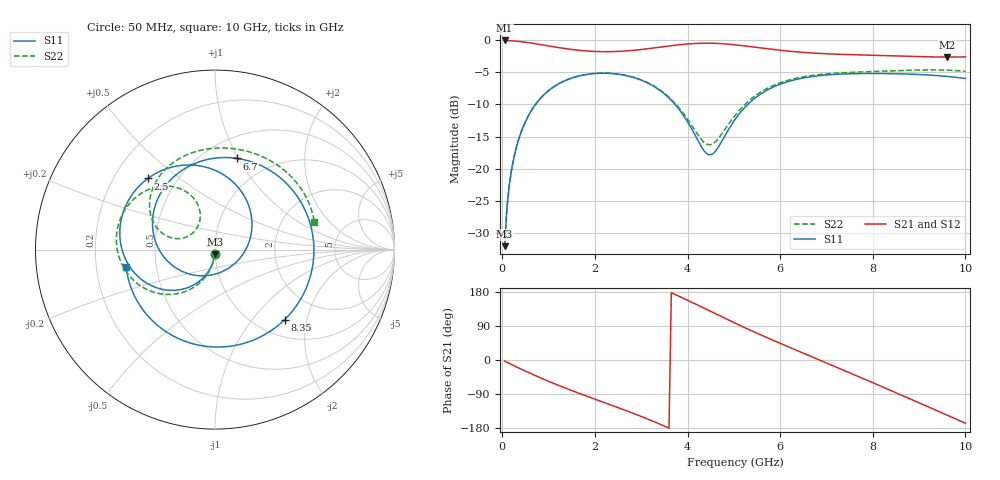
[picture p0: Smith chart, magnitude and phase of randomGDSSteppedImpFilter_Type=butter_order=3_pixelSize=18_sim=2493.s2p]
! freq	dB(S11)	phase(S11)	dB(S12)	phase(S12)
!  dB(S21)	phase(S21)	dB(S22)	phase(S22)
!S-par simulation data
#  GHz  S  DB  R 50
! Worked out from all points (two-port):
!   200 points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, 50 MHz to 10 GHz, reference 50 ohm
!   highest |S21| = -0.01 dB at 50 MHz (marker M1); lowest = -2.6 dB at 9.6 GHz (marker M2)
!   |S21| within 3 dB of the highest: start of sweep to end of sweep
!   lowest |S11| = -32.1 dB at 50 MHz (marker M3), VSWR 1.05, Z = 49.8 - j2.47 ohm
!   |S11| at or under -10 dB: start of sweep to 717.4 MHz; 3.732 GHz to 5.299 GHz (1.567 GHz wide, 34.7 % of centre)
!   |S22| runs from -32.1 to -4.6 dB; largest |S21 - S12| = 0
!   S11 on the Smith chart (normalised r, x): 50 MHz: 1.00, -0.05; 2.5 GHz: 0.34, +0.39; 6.7 GHz: 0.71, +0.99; 8.35 GHz: 1.32, -1.48; 10 GHz: 0.33, -0.09
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0.05  -32.12 -93.3  -0.01 -3.0  -0.01 -3.0  -32.12 -93.0
0.1  -26.12 -96.6  -0.02 -6.0  -0.02 -6.0  -26.12 -95.9
0.2  -20.19 -103.0  -0.06 -11.9  -0.06 -11.9  -20.19 -101.7
0.5  -12.68 -121.5  -0.28 -29.3  -0.28 -29.3  -12.68 -118.2
1.05  -7.55 -152.9  -0.92 -58.8  -0.92 -58.8  -7.54 -145.9
1.75  -5.40 171.1  -1.61 -92.1  -1.61 -92.1  -5.39 -176.2
2.5  -5.27 133.3  -1.72 -125.6  -1.72 -125.6  -5.25 154.8
2.95  -6.06 108.7  -1.46 -146.6  -1.46 -146.6  -6.02 138.2
3.4  -7.78 80.2  -1.05 -169.1  -1.05 -169.1  -7.69 122.5
3.95  -12.12 33.7  -0.59 160.6  -0.59 160.6  -11.77 110.9
4.45  -17.83 -52.4  -0.43 131.2  -0.43 131.2  -16.28 136.0
5.05  -12.10 -157.8  -0.70 95.9  -0.70 95.9  -11.50 164.7
5.8  -7.45 139.4  -1.37 54.5  -1.37 54.5  -7.20 146.7
6.3  -6.17 104.1  -1.75 28.4  -1.75 28.4  -5.98 130.6
6.7  -5.63 76.3  -1.97 7.9  -1.97 7.9  -5.45 117.9
7.1  -5.34 48.0  -2.12 -12.7  -2.12 -12.7  -5.16 105.6
7.6  -5.19 11.4  -2.24 -38.7  -2.24 -38.7  -4.96 90.8
7.95  -5.17 -14.8  -2.31 -57.1  -2.31 -57.1  -4.86 80.6
8.35  -5.19 -45.1  -2.40 -78.3  -2.40 -78.3  -4.76 68.8
8.95  -5.31 -90.4  -2.52 -110.3  -2.52 -110.3  -4.64 50.5
9.6  -5.61 -138.9  -2.60 -145.2  -2.60 -145.2  -4.65 29.2
10  -5.94 -168.8  -2.57 -166.9  -2.57 -166.9  -4.82 15.3
